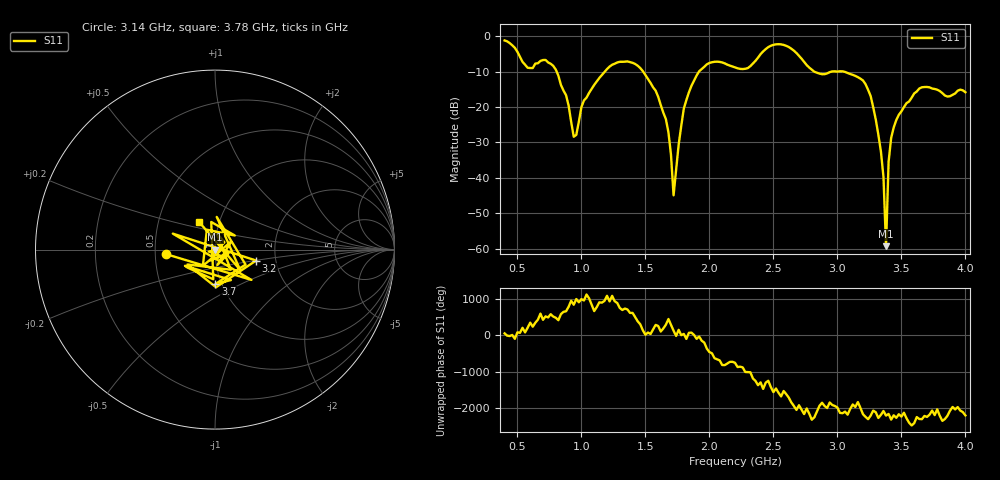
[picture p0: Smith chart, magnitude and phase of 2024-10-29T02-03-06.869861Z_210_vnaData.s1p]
!Created with skrf (http://scikit-rf.org).
# Hz S RI R 50.0
!freq ReS11 ImS11
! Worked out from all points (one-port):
!   181 points, 400 MHz to 4 GHz, reference 50 ohm
!   lowest |S11| = -59.3 dB at 3.38 GHz (marker M1), VSWR 1.00, Z = 50.1 - j0.0869 ohm
!   |S11| at or under -10 dB: 806.6 MHz to 1.184 GHz (377.4 MHz wide, 37.9 % of centre); 1.482 GHz to 1.918 GHz (436 MHz wide, 25.6 % of centre); 3.049 GHz to end of sweep (the widest 3 of 4)
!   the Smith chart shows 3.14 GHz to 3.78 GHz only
!   S11 on the Smith chart (normalised r, x): 3.14 GHz: 0.57, -0.03; 3.2 GHz: 1.58, -0.20; 3.7 GHz: 0.93, -0.37; 3.78 GHz: 0.80, +0.25
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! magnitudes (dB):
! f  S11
! 400 MHz  -1.2
! 580 MHz  -8.9
! 780 MHz  -8.4
! 860 MHz  -15.4
! 940 MHz  -28.4
! 1.02 GHz  -18.1
! 1.3 GHz  -7.2
! 1.6 GHz  -17.1
! 1.68 GHz  -27.2
! 1.72 GHz  -44.9
! 1.76 GHz  -30.6
! 1.8 GHz  -20.5
! 1.92 GHz  -9.9
! 2.2 GHz  -8.8
! 2.66 GHz  -4.1
! 3.1 GHz  -10.7
! 3.14 GHz  -11.2
! 3.2 GHz  -12.5
! 3.26 GHz  -16.9
! 3.34 GHz  -32.6
! 3.36 GHz  -39.7
! 3.38 GHz  -59.3
! 3.4 GHz  -35.5
! 3.42 GHz  -28.7
! 3.56 GHz  -18.4
! 3.7 GHz  -14.3
! 3.78 GHz  -15.1
! 4 GHz  -15.8
